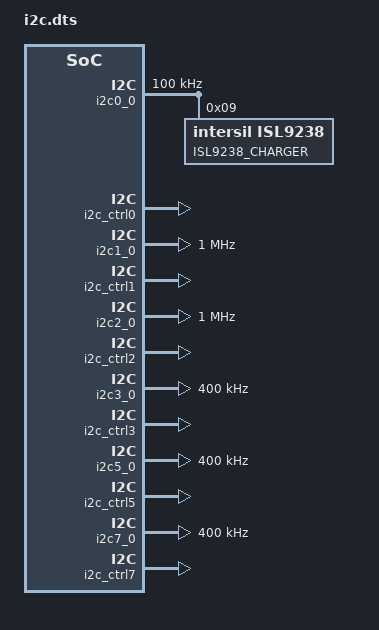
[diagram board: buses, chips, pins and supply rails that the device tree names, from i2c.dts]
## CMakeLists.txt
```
# Copyright 2022 The Chromium OS Authors. All rights reserved.
# Use of this source code is governed by a BSD-style license that can be
# found in the LICENSE file.

cmake_minimum_required(VERSION 3.13.1)

find_package(Zephyr REQUIRED HINTS $ENV{ZEPHYR_BASE})
project(wormdingler)

cros_ec_library_include_directories(include)

zephyr_library_sources_ifdef(CONFIG_PLATFORM_EC_USBC
  "src/usb_pd_policy.c"
  "src/usbc_config.c")

zephyr_library_sources(
  "src/base_detect.c"
  "src/i2c.c"
  "src/power.c"
  "src/switchcap.c")
```

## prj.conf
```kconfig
# Cros EC
CONFIG_CROS_EC=y
CONFIG_PLATFORM_EC=y
CONFIG_SHIMMED_TASKS=y

# Shell features
CONFIG_KERNEL_SHELL=y
CONFIG_SHELL_HELP=y
CONFIG_SHELL_TAB=y
CONFIG_SHELL_TAB_AUTOCOMPLETION=y
CONFIG_SHELL_HISTORY=y

# Bring up options
CONFIG_PLATFORM_EC_BRINGUP=y

# Keyboard
# TODO: enable this for VOLUME_BUTTONS,but wormdingler does not have keyboard
#       we should fix the unsatisfied dependencies in Kconfig.keyboard later
#CONFIG_PLATFORM_EC_KEYBOARD=y

# Button and switch
CONFIG_PLATFORM_EC_HOSTCMD=y
CONFIG_PLATFORM_EC_LID_SWITCH=y
CONFIG_PLATFORM_EC_POWER_BUTTON=y
CONFIG_PLATFORM_EC_VOLUME_BUTTONS=y
CONFIG_PLATFORM_EC_SWITCH=y

# I2C
CONFIG_I2C=y
CONFIG_PLATFORM_EC_I2C=y

# Battery
CONFIG_PLATFORM_EC_BATTERY=y
CONFIG_PLATFORM_EC_BATTERY_SMART=y
CONFIG_PLATFORM_EC_BATTERY_FUEL_GAUGE=y
CONFIG_PLATFORM_EC_BATTERY_CUT_OFF=y
CONFIG_PLATFORM_EC_BATTERY_PRESENT_GPIO=y
CONFIG_PLATFORM_EC_EXTPOWER_GPIO=y
CONFIG_PLATFORM_EC_I2C_PASSTHRU_RESTRICTED=y
CONFIG_PLATFORM_EC_I2C_VIRTUAL_BATTERY=y

# USB-C
CONFIG_PLATFORM_EC_USBC=y
CONFIG_PLATFORM_EC_USB_PID=0x5043
CONFIG_PLATFORM_EC_BC12_DETECT_PI3USB9201=y
CONFIG_PLATFORM_EC_USB_PD_USB32_DRD=n
CONFIG_PLATFORM_EC_USBC_PPC_SN5S330=y
CONFIG_PLATFORM_EC_USBC_RETIMER_FW_UPDATE=n
CONFIG_PLATFORM_EC_USBC_SS_MUX_DFP_ONLY=y
CONFIG_PLATFORM_EC_USB_DRP_ACC_TRYSRC=y
CONFIG_PLATFORM_EC_USB_PD_5V_EN_CUSTOM=y
CONFIG_PLATFORM_EC_USB_PD_VBUS_DETECT_TCPC=y
CONFIG_PLATFORM_EC_USB_PD_DISCHARGE_PPC=y
CONFIG_PLATFORM_EC_USB_PD_PORT_MAX_COUNT=2
CONFIG_PLATFORM_EC_USB_PD_REV30=n
CONFIG_PLATFORM_EC_USB_PD_TCPC_LOW_POWER=y
CONFIG_PLATFORM_EC_USB_PD_TCPM_MULTI_PS8XXX=y
CONFIG_PLATFORM_EC_USB_PD_TCPM_PS8751=y
CONFIG_PLATFORM_EC_USB_PD_TCPM_PS8805=y
CONFIG_PLATFORM_EC_USB_PD_TCPC_RUNTIME_CONFIG=n
CONFIG_PLATFORM_EC_USB_MUX_RUNTIME_CONFIG=n
CONFIG_PLATFORM_EC_USB_PD_LOGGING=y

# Charger
CONFIG_PLATFORM_EC_CHARGER_ISL9238=y
CONFIG_PLATFORM_EC_CHARGE_RAMP_HW=y
CONFIG_PLATFORM_EC_CHARGER_DISCHARGE_ON_AC=y
CONFIG_PLATFORM_EC_CHARGER_DISCHARGE_ON_AC_CHARGER=y
CONFIG_PLATFORM_EC_CHARGER_MIN_BAT_PCT_FOR_POWER_ON=2
CONFIG_PLATFORM_EC_CHARGER_MIN_POWER_MW_FOR_POWER_ON=10000
CONFIG_PLATFORM_EC_CHARGER_PROFILE_OVERRIDE=y
CONFIG_PLATFORM_EC_CHARGER_SENSE_RESISTOR=10
CONFIG_PLATFORM_EC_CHARGER_SENSE_RESISTOR_AC=20
CONFIG_PLATFORM_EC_CONSOLE_CMD_CHARGER_ADC_AMON_BMON=y
CONFIG_PLATFORM_EC_CHARGER_PSYS=y
CONFIG_PLATFORM_EC_CHARGER_PSYS_READ=y

# LN9310 Switchcap
CONFIG_PLATFORM_EC_SWITCHCAP_LN9310=y

# AP and Power Sequence
CONFIG_AP_ARM_QUALCOMM_SC7180=y
CONFIG_PLATFORM_EC_POWERSEQ=y
CONFIG_PLATFORM_EC_POWERSEQ_HOST_SLEEP=y
CONFIG_PLATFORM_EC_POWER_SLEEP_FAILURE_DETECTION=y
CONFIG_PLATFORM_EC_CHIPSET_RESET_HOOK=y
CONFIG_PLATFORM_EC_CHIPSET_RESUME_INIT_HOOK=y

# PWM
CONFIG_PWM=y
CONFIG_PWM_SHELL=n
CONFIG_PLATFORM_EC_PWM_DISPLIGHT=y
CONFIG_PLATFORM_EC_BACKLIGHT_LID=y

# MKBP
CONFIG_PLATFORM_EC_MKBP_EVENT=y
CONFIG_PLATFORM_EC_MKBP_EVENT_WAKEUP_MASK=y
CONFIG_PLATFORM_EC_MKBP_HOST_EVENT_WAKEUP_MASK=y
CONFIG_PLATFORM_EC_MKBP_INPUT_DEVICES=y
CONFIG_PLATFORM_EC_MKBP_USE_GPIO=y

# LED
CONFIG_PLATFORM_EC_LED_DT=y

# Sensor
CONFIG_PLATFORM_EC_MOTIONSENSE=y
CONFIG_PLATFORM_EC_ACCEL_FIFO=y
CONFIG_PLATFORM_EC_ACCEL_INTERRUPTS=y
CONFIG_PLATFORM_EC_ACCELGYRO_ICM42607=y
CONFIG_PLATFORM_EC_ACCELGYRO_ICM_COMM_I2C=y
CONFIG_PLATFORM_EC_SENSOR_TIGHT_TIMESTAMPS=y

# Detachable Base
CONFIG_PLATFORM_EC_DETACHABLE_BASE=y
CONFIG_PLATFORM_EC_BASE_ATTACHED_SWITCH=y
# Enable this board config ADC at runtime
CONFIG_PLATFORM_EC_ADC_CHANNELS_RUNTIME_CONFIG=y

# must undefine to build pass
# difine this until enable this functions
CONFIG_PLATFORM_EC_VBOOT_EFS2=n
# Keyboard
CONFIG_PLATFORM_EC_KEYBOARD=n
CONFIG_CROS_KB_RAW_NPCX=n


# must define to build pass
CONFIG_SOC_NPCX7M7FC=y
CONFIG_SOC_SERIES_NPCX7=y
CONFIG_SYSCON=y
CONFIG_LOG=y
```

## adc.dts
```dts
/* Copyright 2022 The Chromium OS Authors. All rights reserved.
 * Use of this source code is governed by a BSD-style license that can be
 * found in the LICENSE file.
 */

#include <dt-bindings/adc/adc.h>

/ {
	named-adc-channels {
		compatible = "named-adc-channels";

		vbus {
			label = "VBUS";
			enum-name = "ADC_VBUS";
			io-channels = <&adc0 1>;
			/* Measure VBUS through a 1/10 voltage divider */
			mul = <10>;
		};
		amon_bmon {
			label = "AMON_BMON";
			enum-name = "ADC_AMON_BMON";
			io-channels = <&adc0 2>;
			/*
			 * Adapter current output or battery charging/
			 * discharging current (uV) 18x amplification on
			 * charger side.
			 */
			mul = <1000>;
			div = <18>;
		};
		psys {
			label = "PSYS";
			enum-name = "ADC_PSYS";
			io-channels = <&adc0 3>;
			/*
			 * ISL9238 PSYS output is 1.44 uA/W over 5.6K resistor,
			 * to read 0.8V @ 99 W, i.e. 124000 uW/mV.
			 */
			mul = <124000>;
		};
		base_det {
			label = "BASE_DET";
			enum-name = "ADC_BASE_DET";
			/*
			 *channel 6 is an unimplemented ADC slot, change it to 5
			 *at board runtime, so that we can configure this PIN as
			 *an interrupt PIN.
			 */
			io-channels = <&adc0 6>;
		};
	};
};
```

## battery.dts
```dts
/* Copyright 2021 The Chromium OS Authors. All rights reserved.
 * Use of this source code is governed by a BSD-style license that can be
 * found in the LICENSE file.
 */

/ {
	batteries {
		default_battery: sunwoda_l21d2pg2 {
			compatible = "sunwoda,l21d2pg2";
		};
		byd_l21b2pg2 {
			compatible = "byd,l21b2pg2";
		};
	};
};
```

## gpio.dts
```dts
/* Copyright 2022 The Chromium OS Authors. All rights reserved.
 * Use of this source code is governed by a BSD-style license that can be
 * found in the LICENSE file.
 */

/ {
	aliases {
		gpio-wp = &gpio_ec_wp_odl;
	};

	named-gpios {
		compatible = "named-gpios";

		gpio_ec_wp_odl: ec_wp_odl {
			gpios = <&gpioa 1 (GPIO_INPUT | GPIO_ACTIVE_LOW)>;
		};
		gpio_usb_c0_pd_int_odl: usb_c0_pd_int_odl {
			gpios = <&gpioe 0 GPIO_INPUT>;
			enum-name = "GPIO_USB_C0_PD_INT_ODL";
		};
		gpio_usb_c1_pd_int_odl: usb_c1_pd_int_odl {
			gpios = <&gpiof 5 GPIO_INPUT>;
			enum-name = "GPIO_USB_C1_PD_INT_ODL";
		};
		gpio_usb_c0_swctl_int_odl: usb_c0_swctl_int_odl {
			gpios = <&gpio0 3 GPIO_INPUT>;
			enum-name = "GPIO_USB_C0_SWCTL_INT_ODL";
		};
		gpio_usb_c1_swctl_int_odl: usb_c1_swctl_int_odl {
			gpios = <&gpio4 0 GPIO_INPUT>;
			enum-name = "GPIO_USB_C1_SWCTL_INT_ODL";
		};
		gpio_usb_c0_bc12_int_l: usb_c0_bc12_int_l {
			gpios = <&gpio6 1 GPIO_INPUT_PULL_UP>;
		};
		gpio_usb_c1_bc12_int_l: usb_c1_bc12_int_l {
			gpios = <&gpio8 2 GPIO_INPUT_PULL_UP>;
		};
		gpio_acok_od: acok_od {
			gpios = <&gpio0 0 GPIO_INPUT>;
			enum-name = "GPIO_AC_PRESENT";
		};
		gpio_ccd_mode_odl: ccd_mode_odl {
			gpios = <&gpioe 3 GPIO_INPUT>;
			enum-name = "GPIO_CCD_MODE_ODL";
		};
		gpio_ec_pwr_btn_odl: ec_pwr_btn_odl {
			gpios = <&gpio0 1 GPIO_INPUT>;
			enum-name = "GPIO_POWER_BUTTON_L";
		};
		gpio_ec_voldn_btn_odl: ec_voldn_btn_odl {
			gpios = <&gpio7 0 GPIO_INPUT_PULL_UP>;
			enum-name = "GPIO_VOLUME_DOWN_L";
		};
		gpio_ec_volup_btn_odl: ec_volup_btn_odl {
			gpios = <&gpiof 2 GPIO_INPUT_PULL_UP>;
			enum-name = "GPIO_VOLUME_UP_L";
		};
		gpio_ec_wp_odl: ec_wp_odl {
			gpios = <&gpioa 1 (GPIO_INPUT | GPIO_ACTIVE_LOW)>;
		};
		gpio_lid_open_ec: lid_open_ec {
			gpios = <&gpiod 2 GPIO_INPUT>;
			enum-name = "GPIO_LID_OPEN";
		};
		gpio_ap_rst_l: ap_rst_l {
			gpios = <&gpioc 1 GPIO_INPUT>;
			enum-name = "GPIO_AP_RST_L";
		};
		gpio_ps_hold: ps_hold {
			gpios = <&gpioa 4 GPIO_INPUT_PULL_DOWN>;
			enum-name = "GPIO_PS_HOLD";
		};
		gpio_ap_suspend: ap_suspend {
			gpios = <&gpio5 7 GPIO_INPUT>;
			enum-name = "GPIO_AP_SUSPEND";
		};
		gpio_deprecated_ap_rst_req: deprecated_ap_rst_req {
			gpios = <&gpioc 2 GPIO_INPUT_PULL_DOWN>;
			enum-name = "GPIO_DEPRECATED_AP_RST_REQ";
		};
		gpio_power_good: power_good {
			gpios = <&gpio5 4 GPIO_INPUT_PULL_DOWN>;
			enum-name = "GPIO_POWER_GOOD";
		};
		gpio_warm_reset_l: warm_reset_l {
			gpios = <&gpiof 4 GPIO_INPUT>;
			enum-name = "GPIO_WARM_RESET_L";
		};
		ap_ec_spi_cs_l {
			gpios = <&gpio5 3 GPIO_INPUT_PULL_DOWN>;
		};
		gpio_accel_gyro_int_l: accel_gyro_int_l {
			gpios = <&gpioa 0 GPIO_INPUT>;
		};
		gpio_switchcap_pg_int_l: switchcap_pg_int_l {
			gpios = <&gpioe 2 GPIO_INPUT>;
		};
		gpio_ec_rst_odl: ec_rst_odl {
			gpios = <&gpio0 2 GPIO_INPUT>;
		};	
		ec_entering_rw {
			gpios = <&gpioe 1 GPIO_OUTPUT_LOW>;
			enum-name = "GPIO_ENTERING_RW";
		};
		ec_batt_pres_odl {
			gpios = <&gpioe 5 GPIO_INPUT>;
			enum-name = "GPIO_BATT_PRES_ODL";
		};
		pm845_resin_l {
			gpios = <&gpio3 2 GPIO_ODR_HIGH>;
			enum-name = "GPIO_PMIC_RESIN_L";
		};
		pmic_kpd_pwr_odl {
			gpios = <&gpiod 6 GPIO_ODR_HIGH>;
			enum-name = "GPIO_PMIC_KPD_PWR_ODL";
		};
		ec_int_l {
			gpios = <&gpioa 2 GPIO_ODR_HIGH>;
			enum-name = "GPIO_EC_INT_L";
		};
		qsip_on {
			gpios = <&gpio5 0 GPIO_OUTPUT_LOW>;
		};
		gpio_hibernate_l: hibernate_l {
			gpios = <&gpio5 2 GPIO_OUTPUT_HIGH>;
		};
		gpio_switchcap_on: switchcap_on {
			gpios = <&gpiod 5 (GPIO_ODR_HIGH | GPIO_ACTIVE_LOW)>;
			enum-name = "GPIO_SWITCHCAP_ON";
		};
		gpio_en_pp3300_a: en_pp3300_a {
			gpios = <&gpioa 6 GPIO_OUTPUT_LOW>;
			enum-name = "GPIO_EN_PP3300_A";
		};
		gpio_en_pp5000_a: en_pp5000_a {
			gpios = <&gpio6 7 GPIO_OUTPUT_LOW>;
			enum-name = "GPIO_EN_PP5000";
		};
		ec_bl_disable_l {
			gpios = <&gpiob 6 GPIO_OUTPUT_LOW>;
			enum-name = "GPIO_ENABLE_BACKLIGHT";
		};
		gpio_en_base: en_base {
			gpios = <&gpio0 4 GPIO_OUTPUT_LOW>;
		};
		gpio_pogo_vbus_present: pogo_vbus_present {
			gpios = <&gpio6 2 GPIO_INPUT>;
		};
		gpio_base_det_l: base_det_l {
			gpios = <&gpio3 7 GPIO_INPUT>;
		};
		gpio_usb_c0_pd_rst_l: usb_c0_pd_rst_l {
			gpios = <&gpiof 1 GPIO_ODR_HIGH>;
		};
		gpio_usb_c1_pd_rst_l: usb_c1_pd_rst_l {
			gpios = <&gpioe 4 GPIO_ODR_HIGH>;
		};
		gpio_dp_mux_oe_l: dp_mux_oe_l {
			gpios = <&gpio9 6 GPIO_ODR_HIGH>;
		};
		gpio_dp_mux_sel: dp_mux_sel {
			gpios = <&gpio4 5 GPIO_OUTPUT_LOW>;
		};
		gpio_dp_hot_plug_det: dp_hot_plug_det {
			gpios = <&gpio9 5 GPIO_OUTPUT_LOW>;
		};
		gpio_ec_chg_led_r_c0: ec_chg_led_r_c0 {
			#led-pin-cells = <1>;
			gpios = <&gpioc 3 GPIO_OUTPUT_LOW>;
		};
		gpio_ec_chg_led_g_c0: ec_chg_led_g_c0 {
			#led-pin-cells = <1>;
			gpios = <&gpioc 4 GPIO_OUTPUT_LOW>;
		};
		gpio_wcam_ec_vsync: wcam_ec_vsync {
			gpios = <&gpioc 0 GPIO_INPUT>;
		};
		gpio_fcam_ec_vsync: fcam_ec_vsync {
			gpios = <&gpio6 0 GPIO_INPUT>;
		};
		gpio_brd_id0: brd_id0 {
			gpios = <&gpioc 7 GPIO_INPUT>;
			enum-name = "GPIO_BOARD_VERSION1";
		};
		gpio_brd_id1: brd_id1 {
			gpios = <&gpio9 3 GPIO_INPUT>;
			enum-name = "GPIO_BOARD_VERSION2";
		};
		gpio_brd_id2: brd_id2 {
			gpios = <&gpio6 3 GPIO_INPUT>;
			enum-name = "GPIO_BOARD_VERSION3";
		};
		gpio_sku_id0: sku_id0 {
			gpios = <&gpiof 0 GPIO_INPUT>;
		};
		gpio_sku_id1: sku_id1 {
			gpios = <&gpio4 1 GPIO_INPUT>;
		};
		gpio_sku_id2: sku_id2 {
			gpios = <&gpiod 4 GPIO_INPUT>;
		};
		arm_x86 {
			gpios = <&gpio6 6 GPIO_OUTPUT_LOW>;
		};
	};

	def-lvol-io-list {
		compatible = "nuvoton,npcx-lvolctrl-def";
		lvol-io-pads = <
			&lvol_ioc1 /* AP_RST_L */
			&lvol_ioc2 /* DEPRECATED_AP_RST_REQ */
			&lvol_iof4 /* WARM_RESET_L */
			&lvol_iob3 /* EC_I2C_SENSOR_SCL */
			&lvol_iob2 /* EC_I2C_SENSOR_SDA */
		>;
	};

	hibernate-wake-pins {
		compatible = "cros-ec,hibernate-wake-pins";
		wakeup-irqs = <
			&int_ac_present
			&int_power_button
			&int_lid_open
			&int_ec_rst
		>;
	};
};
```

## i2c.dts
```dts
/* Copyright 2022 The Chromium OS Authors. All rights reserved.
 * Use of this source code is governed by a BSD-style license that can be
 * found in the LICENSE file.
 */

/ {
	named-i2c-ports {
		compatible = "named-i2c-ports";

		power {
			i2c-port = <&i2c0_0>;
			enum-name = "I2C_PORT_POWER";
		};
		battery {
			i2c-port = <&i2c0_0>;
			remote-port = <0>;
			enum-name = "I2C_PORT_BATTERY";
		};
		charger {
			i2c-port = <&i2c0_0>;
			enum-name = "I2C_PORT_CHARGER";
		};
		tcpc0 {
			i2c-port = <&i2c1_0>;
			enum-name = "I2C_PORT_TCPC0";
		};
		tcpc1 {
			i2c-port = <&i2c2_0>;
			enum-name = "I2C_PORT_TCPC1";
		};
		eeprom {
			i2c-port = <&i2c5_0>;
			enum-name = "I2C_PORT_EEPROM";
		};
		i2c_sensor: sensor {
			i2c-port = <&i2c7_0>;
			enum-name = "I2C_PORT_SENSOR";
		};
		accel {
			i2c-port = <&i2c7_0>;
			enum-name = "I2C_PORT_ACCEL";
		};
	};

};

&i2c0_0 {
	status = "okay";
	clock-frequency = <I2C_BITRATE_STANDARD>;
	label = "I2C_PWR_BAT_CHG";

	isl9238: isl9238@9 {
		compatible = "intersil,isl9238";
		reg = <0x09>;
		label = "ISL9238_CHARGER";
	};
};

&i2c_ctrl0 {
	status = "okay";
};

&i2c1_0 {
	status = "okay";
	clock-frequency = <I2C_BITRATE_FAST_PLUS>;
	label = "I2C_USB_C0";
};

&i2c_ctrl1 {
	status = "okay";
};

&i2c2_0 {
	status = "okay";
	clock-frequency = <I2C_BITRATE_FAST_PLUS>;
	label = "I2C_USB_C1";
};

&i2c_ctrl2 {
	status = "okay";
};

&i2c3_0 {
	/* Not used */
	clock-frequency = <I2C_BITRATE_FAST>;
};

&i2c_ctrl3 {
	status = "okay";
};

&i2c5_0 {
	status = "okay";
	clock-frequency = <I2C_BITRATE_FAST>;
	label = "I2C_EEPROM";
};

&i2c_ctrl5 {
	status = "okay";
};

&i2c7_0 {
	status = "okay";
	clock-frequency = <I2C_BITRATE_FAST>;
	label = "I2C_SENSOR";
};

&i2c_ctrl7 {
	status = "okay";
};
```

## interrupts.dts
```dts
/* Copyright 2022 The Chromium OS Authors. All rights reserved.
 * Use of this source code is governed by a BSD-style license that can be
 * found in the LICENSE file.
 */

/ {
	gpio-interrupts {
		compatible = "cros-ec,gpio-interrupts";

		int_power_button: power_button {
			irq-pin = <&gpio_ec_pwr_btn_odl>;
			flags = <GPIO_INT_EDGE_BOTH>;
			handler = "power_button_interrupt";
		};
		int_lid_open: lid_open {
			irq-pin = <&gpio_lid_open_ec>;
			flags = <GPIO_INT_EDGE_BOTH>;
			handler = "lid_interrupt";
		};
		int_volume_up: volume_up {
			irq-pin = <&gpio_ec_volup_btn_odl>;
			flags = <GPIO_INT_EDGE_BOTH>;
			handler = "button_interrupt";
		};
		int_volume_down: volume_down {
			irq-pin = <&gpio_ec_voldn_btn_odl>;
			flags = <GPIO_INT_EDGE_BOTH>;
			handler = "button_interrupt";
		};
		int_ac_present: ac_present {
			irq-pin = <&gpio_acok_od>;
			flags = <GPIO_INT_EDGE_BOTH>;
			handler = "extpower_interrupt";
		};
		int_usb_c0_tcpc: usb_c0_tcpc {
			irq-pin = <&gpio_usb_c0_pd_int_odl>;
			flags = <GPIO_INT_EDGE_FALLING>;
			handler = "tcpc_alert_event";
		};
		int_usb_c1_tcpc: usb_c1_tcpc {
			irq-pin = <&gpio_usb_c1_pd_int_odl>;
			flags = <GPIO_INT_EDGE_FALLING>;
			handler = "tcpc_alert_event";
		};
		int_usb_c0_swctl: usb_c0_swctl {
			irq-pin = <&gpio_usb_c0_swctl_int_odl>;
			flags = <GPIO_INT_EDGE_FALLING>;
			handler = "ppc_interrupt";
		};
		int_usb_c1_swctl: usb_c1_swctl {
			irq-pin = <&gpio_usb_c1_swctl_int_odl>;
			flags = <GPIO_INT_EDGE_FALLING>;
			handler = "ppc_interrupt";
		};
		int_usb_c0_bc12: usb_c0_bc12 {
			irq-pin = <&gpio_usb_c0_bc12_int_l>;
			flags = <GPIO_INT_EDGE_FALLING>;
			handler = "usb0_evt";
		};
		int_usb_c1_bc12: usb_c1_bc12 {
			irq-pin = <&gpio_usb_c1_bc12_int_l>;
			flags = <GPIO_INT_EDGE_FALLING>;
			handler = "usb1_evt";
		};
		int_ccd_mode: ccd_mode {
			irq-pin = <&gpio_ccd_mode_odl>;
			flags = <GPIO_INT_EDGE_FALLING>;
			handler = "board_connect_c0_sbu";
		};
		int_switchcap_pg: switchcap_pg {
			irq-pin = <&gpio_switchcap_pg_int_l>;
			flags = <GPIO_INT_EDGE_FALLING>;
			handler = "ln9310_interrupt";
		};
		int_ap_rst: ap_rst {
			irq-pin = <&gpio_ap_rst_l>;
			flags = <GPIO_INT_EDGE_BOTH>;
			handler = "chipset_ap_rst_interrupt";
		};
		int_ap_suspend: ap_suspend {
			irq-pin = <&gpio_ap_suspend>;
			flags = <GPIO_INT_EDGE_BOTH>;
			handler = "power_signal_interrupt";
		};
		int_deprecated_ap_rst_req: deprecated_ap_rst_req {
			irq-pin = <&gpio_deprecated_ap_rst_req>;
			flags = <GPIO_INT_EDGE_BOTH>;
			handler = "power_signal_interrupt";
		};
		int_power_good: power_good {
			irq-pin = <&gpio_power_good>;
			flags = <GPIO_INT_EDGE_BOTH>;
			handler = "chipset_power_good_interrupt";
		};
		int_ps_hold: ps_hold {
			irq-pin = <&gpio_ps_hold>;
			flags = <GPIO_INT_EDGE_BOTH>;
			handler = "power_signal_interrupt";
		};
		int_warm_reset: warm_reset {
			irq-pin = <&gpio_warm_reset_l>;
			flags = <GPIO_INT_EDGE_BOTH>;
			handler = "chipset_warm_reset_interrupt";
		};
		int_accel: accel {
			irq-pin = <&gpio_accel_gyro_int_l>;
			flags = <GPIO_INT_EDGE_FALLING>;
			handler = "icm42607_interrupt";
		};
		int_base_det: base_det {
			irq-pin = <&gpio_base_det_l>;
			flags = <GPIO_INT_EDGE_BOTH>;
			handler = "base_detect_interrupt";
		};
		int_ec_rst: ec_rst {
			irq-pin = <&gpio_ec_rst_odl>;
			flags = <GPIO_INT_EDGE_FALLING>;
			handler = "wake_isr";
		};
	};
};
```

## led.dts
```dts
/ {
	gpio-led {
		compatible = "gpio-led-behavior";

		gpio-led-pins {
			compatible = "cros-ec,gpio-led-pins";

			color-off {
				led-color = "LED_OFF";
				led-pins = <&gpio_ec_chg_led_r_c0 0>,
					   <&gpio_ec_chg_led_g_c0 0>;
			};

			color-red {
				led-color = "LED_RED";
				led-pins = <&gpio_ec_chg_led_r_c0 1>,
					   <&gpio_ec_chg_led_g_c0 0>;
			};

			color-green {
				led-color = "LED_GREEN";
				led-pins = <&gpio_ec_chg_led_r_c0 0>,
					   <&gpio_ec_chg_led_g_c0 1>;
			};

			color-amber {
				led-color = "LED_AMBER";
				led-pins = <&gpio_ec_chg_led_r_c0 1>,
					   <&gpio_ec_chg_led_g_c0 1>;
			};
		};

		gpio-led-colors {
			compatible = "cros-ec,gpio-led-colors";

			power-state-charge {
				charge-state = "PWR_STATE_CHARGE";

				color-0 {
					led-color = "LED_AMBER";
				};
			};

			power-state-discharge-s0 {
				charge-state = "PWR_STATE_DISCHARGE";
				chipset-state = "POWER_S0";

				color-0 {
					led-color = "LED_OFF";
				};
			};

			power-state-discharge-s3 {
				charge-state = "PWR_STATE_DISCHARGE";
				chipset-state = "POWER_S3";

				color-0 {
					led-color = "LED_OFF";
				};
			};

			power-state-discharge-s5 {
				charge-state = "PWR_STATE_DISCHARGE";
				chipset-state = "POWER_S5";

				color-0 {
					led-color = "LED_OFF";
				};
			};

			power-state-error {
				charge-state = "PWR_STATE_ERROR";

				/* RED 1 sec, off 1 sec */
				color-0 {
					led-color = "LED_RED";
					period = <1>;
				};
				color-1 {
					led-color = "LED_OFF";
					period = <1>;
				};
			};

			power-state-near-full {
				charge-state = "PWR_STATE_CHARGE_NEAR_FULL";

				color-0 {
					led-color = "LED_GREEN";
				};
			};

			power-state-idle-forced {
				charge-state = "PWR_STATE_IDLE";
				extra-flag = "LED_CHFLAG_FORCE_IDLE";

				/* Red 2 sec, Amber 2 sec */
				color-0 {
					led-color = "LED_RED";
					period = <2>;
				};
				color-1 {
					led-color = "LED_GREEN";
					period = <2>;
				};
			};

			power-state-idle-default {
				charge-state = "PWR_STATE_IDLE";
				extra-flag = "LED_CHFLAG_DEFAULT";

				color-0 {
					led-color = "LED_OFF";
				};
			};
		};
	};
};
```

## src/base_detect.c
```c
/* Copyright 2021 The Chromium OS Authors. All rights reserved.
 * Use of this source code is governed by a BSD-style license that can be
 * found in the LICENSE file.
 */

/* Wormdingler base detection code */

#include <drivers/gpio.h>
#include "gpio/gpio_int.h"

#include "adc.h"
#include "base_state.h"
#include "board.h"
#include "chipset.h"
#include "common.h"
#include "console.h"
#include "hooks.h"
#include "host_command.h"
#include "system.h"
#include "tablet_mode.h"
#include "timer.h"
#include "util.h"

#define CPRINTS(format, args...) cprints(CC_SYSTEM, format, ## args)
#define CPRINTF(format, args...) cprintf(CC_SYSTEM, format, ## args)

/* Make sure POGO VBUS starts later then PP3300_HUB when power on  */
#define BASE_DETECT_EN_LATER_US (600 * MSEC)

/* Base detection and debouncing */
#define BASE_DETECT_EN_DEBOUNCE_US (350 * MSEC)
#define BASE_DETECT_DIS_DEBOUNCE_US (20 * MSEC)

/*
 * If the base status is unclear (i.e. not within expected ranges, read
 * the ADC value again every 500ms.
 */
#define BASE_DETECT_RETRY_US (500 * MSEC)

/*
 * Lid has 604K pull-up, base has 30.1K pull-down, so the
 * ADC value should be around 30.1/(604+30.1)*3300 = 156
 *
 * We add a significant margin on the maximum value, due to noise on the line,
 * especially when PWM is active. See b/64193554 for details.
 */
#define BASE_DETECT_MIN_MV 120
#define BASE_DETECT_MAX_MV 300

/* Minimum ADC value to indicate base is disconnected for sure */
#define BASE_DETECT_DISCONNECT_MIN_MV 1500

/*
 * Base EC pulses detection pin for 500 us to signal out of band USB wake (that
 * can be used to wake system from deep S3).
 */
#define BASE_DETECT_PULSE_MIN_US 400
#define BASE_DETECT_PULSE_MAX_US 650

static uint64_t base_detect_debounce_time;

static void base_detect_deferred(void);
DECLARE_DEFERRED(base_detect_deferred);

enum base_status {
	BASE_UNKNOWN = 0,
	BASE_DISCONNECTED = 1,
	BASE_CONNECTED = 2,
};

static enum base_status current_base_status;

/*
 * This function is called whenever there is a change in the base detect
 * status. Actions taken include:
 * 1. Change in power to base
 * 2. Indicate mode change to host.
 * 3. Indicate tablet mode to host. Current assumption is that if base is
 * disconnected then the system is in tablet mode, else if the base is
 * connected, then the system is not in tablet mode.
 */
static void base_detect_change(enum base_status status)
{
	int connected = (status == BASE_CONNECTED);

	if (current_base_status == status)
		return;
	gpio_pin_set_dt(GPIO_DT_FROM_NODELABEL(gpio_en_base), connected);
	base_set_state(connected);
	current_base_status = status;
}

/* Measure detection pin pulse duration (used to wake AP from deep S3). */
static uint64_t pulse_start;
static uint32_t pulse_width;

static void print_base_detect_value(int v, int tmp_pulse_width)
{
	CPRINTS("%s = %d (pulse %d)", adc_channels[ADC_BASE_DET].name,
			v, tmp_pulse_width);
}

static void base_detect_deferred(void)
{
	uint64_t time_now = get_time().val;
	int v;
	uint32_t tmp_pulse_width = pulse_width;

	if (base_detect_debounce_time > time_now) {
		hook_call_deferred(&base_detect_deferred_data,
				   base_detect_debounce_time - time_now);
		return;
	}

	adc_channels[ADC_BASE_DET].input_ch = 5;
	v = adc_read_channel(ADC_BASE_DET);
	if (v == ADC_READ_ERROR)
		return;
	adc_channels[ADC_BASE_DET].input_ch = 6;

	print_base_detect_value(v, tmp_pulse_width);

	if (v >= BASE_DETECT_MIN_MV && v <= BASE_DETECT_MAX_MV) {
		if (current_base_status != BASE_CONNECTED) {
			base_detect_change(BASE_CONNECTED);
		} else if (tmp_pulse_width >= BASE_DETECT_PULSE_MIN_US &&
			   tmp_pulse_width <= BASE_DETECT_PULSE_MAX_US) {
			CPRINTS("Sending event to AP");
			host_set_single_event(EC_HOST_EVENT_KEY_PRESSED);
		}
		return;
	}

	if (v >= BASE_DETECT_DISCONNECT_MIN_MV) {
		base_detect_change(BASE_DISCONNECTED);
		return;
	}

	/* Unclear base status, schedule again in a while. */
	hook_call_deferred(&base_detect_deferred_data, BASE_DETECT_RETRY_US);
}

static inline int detect_pin_connected(enum gpio_signal det_pin)
{
	return gpio_pin_get_dt(GPIO_DT_FROM_NODELABEL(gpio_base_det_l)) == 0;
}

void base_detect_interrupt(enum gpio_signal signal)
{
	uint64_t time_now = get_time().val;
	int debounce_us;

	if (detect_pin_connected(signal))
		debounce_us = BASE_DETECT_EN_DEBOUNCE_US;
	else
		debounce_us = BASE_DETECT_DIS_DEBOUNCE_US;

	if (base_detect_debounce_time <= time_now) {
		/*
		 * Detect and measure detection pin pulse, when base is
		 * connected. Only a single pulse is measured over a debounce
		 * period. If no pulse, or multiple pulses are detected,
		 * pulse_width is set to 0.
		 */
		if (current_base_status == BASE_CONNECTED &&
		    !detect_pin_connected(signal)) {
			pulse_start = time_now;
		} else {
			pulse_start = 0;
		}
		pulse_width = 0;

		hook_call_deferred(&base_detect_deferred_data, debounce_us);
	} else {
		if (current_base_status == BASE_CONNECTED &&
		    detect_pin_connected(signal) && !pulse_width &&
		    pulse_start) {
			/* First pulse within period. */
			pulse_width = time_now - pulse_start;
		} else {
			pulse_start = 0;
			pulse_width = 0;
		}
	}

	base_detect_debounce_time = time_now + debounce_us;
}

static void base_enable(void)
{
	/* Enable base detection interrupt. */
	base_detect_debounce_time = get_time().val;
	hook_call_deferred(&base_detect_deferred_data,
			BASE_DETECT_EN_LATER_US);
	gpio_enable_dt_interrupt(
			GPIO_INT_FROM_NODELABEL(int_base_det));
}
DECLARE_HOOK(HOOK_CHIPSET_STARTUP, base_enable, HOOK_PRIO_DEFAULT);

static void base_disable(void)
{
	/*
	 * Disable base detection interrupt and disable power to base.
	 * Set the state UNKNOWN so the next startup will initialize a
	 * correct state and notify AP.
	 */
	gpio_disable_dt_interrupt(
			GPIO_INT_FROM_NODELABEL(int_base_det));
	base_detect_change(BASE_UNKNOWN);
}
DECLARE_HOOK(HOOK_CHIPSET_SHUTDOWN, base_disable, HOOK_PRIO_DEFAULT);

static void base_init(void)
{
	/*
	 * If we jumped to this image and chipset is already in S0, enable
	 * base.
	 */
	if (system_jumped_late() && chipset_in_state(CHIPSET_STATE_ON))
		base_enable();
}
DECLARE_HOOK(HOOK_INIT, base_init, HOOK_PRIO_DEFAULT+1);

void base_force_state(enum ec_set_base_state_cmd state)
{
	if (state == EC_SET_BASE_STATE_ATTACH) {
		gpio_disable_dt_interrupt(
			GPIO_INT_FROM_NODELABEL(int_base_det));
		base_detect_change(BASE_CONNECTED);
		CPRINTS("BD forced connected");
	} else if (state == EC_SET_BASE_STATE_DETACH) {
		gpio_disable_dt_interrupt(
			GPIO_INT_FROM_NODELABEL(int_base_det));
		base_detect_change(BASE_DISCONNECTED);
		CPRINTS("BD forced disconnected");
	} else {
		base_enable();
		CPRINTS("BD forced reset");
	}
}
```

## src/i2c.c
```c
/* Copyright 2022 The Chromium OS Authors. All rights reserved.
 * Use of this source code is governed by a BSD-style license that can be
 * found in the LICENSE file.
 */

#include "i2c/i2c.h"
#include "i2c.h"

/* Wormdingler board specific i2c implementation */

#ifdef CONFIG_PLATFORM_EC_I2C_PASSTHRU_RESTRICTED
int board_allow_i2c_passthru(const struct i2c_cmd_desc_t *cmd_desc)
{
	return (i2c_get_device_for_port(cmd_desc->port) ==
		i2c_get_device_for_port(I2C_PORT_VIRTUAL_BATTERY));
}
#endif
```

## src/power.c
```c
/* Copyright 2022 The Chromium OS Authors. All rights reserved.
 * Use of this source code is governed by a BSD-style license that can be
 * found in the LICENSE file.
 */

#include <drivers/gpio.h>
#include "hooks.h"
#include "power.h"
#include "task.h"

void board_chipset_pre_init(void)
{
	/* Turn on the 3.3V rail */
	gpio_pin_set_dt(GPIO_DT_FROM_NODELABEL(gpio_en_pp3300_a), 1);

	/* Turn on the 5V rail. */
#ifdef CONFIG_POWER_PP5000_CONTROL
	power_5v_enable(task_get_current(), 1);
#else /* !defined(CONFIG_POWER_PP5000_CONTROL) */
	gpio_pin_set_dt(GPIO_DT_FROM_NODELABEL(gpio_en_pp5000_a), 1);
#endif /* defined(CONFIG_POWER_PP5000_CONTROL) */
}
DECLARE_HOOK(HOOK_CHIPSET_PRE_INIT, board_chipset_pre_init, HOOK_PRIO_DEFAULT);

void board_chipset_shutdown_complete(void)
{
	/* Turn off the 5V rail. */
#ifdef CONFIG_POWER_PP5000_CONTROL
	power_5v_enable(task_get_current(), 0);
#else /* !defined(CONFIG_POWER_PP5000_CONTROL) */
	gpio_pin_set_dt(GPIO_DT_FROM_NODELABEL(gpio_en_pp5000_a), 0);
#endif /* defined(CONFIG_POWER_PP5000_CONTROL) */

	/* Turn off the 3.3V and 5V rails. */
	gpio_pin_set_dt(GPIO_DT_FROM_NODELABEL(gpio_en_pp3300_a), 0);
}
DECLARE_HOOK(HOOK_CHIPSET_SHUTDOWN_COMPLETE, board_chipset_shutdown_complete,
		HOOK_PRIO_DEFAULT);
```

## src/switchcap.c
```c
/* Copyright 2022 The Chromium OS Authors. All rights reserved.
 * Use of this source code is governed by a BSD-style license that can be
 * found in the LICENSE file.
 */

#include <drivers/gpio.h>

#include "common.h"
#include "config.h"
#include "console.h"
#include "driver/ln9310.h"
#include "gpio/gpio_int.h"
#include "hooks.h"
#include "i2c.h"
#include "power/qcom.h"
#include "system.h"

#define CPRINTS(format, args...) cprints(CC_I2C, format, ## args)
#define CPRINTF(format, args...) cprintf(CC_I2C, format, ## args)

/* LN9310 switchcap */
const struct ln9310_config_t ln9310_config = {
	.i2c_port = I2C_PORT_POWER,
	.i2c_addr_flags = LN9310_I2C_ADDR_0_FLAGS,
};

enum battery_cell_type board_get_battery_cell_type(void)
{
	return BATTERY_CELL_TYPE_2S;
}

static void switchcap_init(void)
{
	
	CPRINTS("Use switchcap: LN9310");

	/* Enable interrupt for LN9310 */
	gpio_enable_dt_interrupt(
		GPIO_INT_FROM_NODELABEL(int_switchcap_pg));

	/* Only configure the switchcap if not sysjump */
	if (!system_jumped_late()) {
		ln9310_init();
	}
}
DECLARE_HOOK(HOOK_INIT, switchcap_init, HOOK_PRIO_DEFAULT);

void board_set_switchcap_power(int enable)
{
	gpio_pin_set_dt(
		GPIO_DT_FROM_NODELABEL(gpio_switchcap_on),
		enable);
	ln9310_software_enable(enable);
}

int board_is_switchcap_enabled(void)
{
	return gpio_pin_get_dt(
			GPIO_DT_FROM_NODELABEL(gpio_switchcap_on));
}

int board_is_switchcap_power_good(void)
{
	return ln9310_power_good();
}
```

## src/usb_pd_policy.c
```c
/* Copyright 2022 The Chromium OS Authors. All rights reserved.
 * Use of this source code is governed by a BSD-style license that can be
 * found in the LICENSE file.
 */

#include <drivers/gpio.h>
#include "charge_manager.h"
#include "chipset.h"
#include "console.h"
#include "system.h"
#include "usb_mux.h"
#include "usbc_ppc.h"
#include "util.h"

#define CPRINTS(format, args...) cprints(CC_USBCHARGE, format, ## args)
#define CPRINTF(format, args...) cprintf(CC_USBCHARGE, format, ## args)

int pd_check_vconn_swap(int port)
{
	/* In G3, do not allow vconn swap since PP5000 rail is off */
	return gpio_pin_get_dt(GPIO_DT_FROM_NODELABEL(gpio_en_pp5000_a));
}

static uint8_t vbus_en[CONFIG_USB_PD_PORT_MAX_COUNT];
#if CONFIG_USB_PD_PORT_MAX_COUNT == 1
static uint8_t vbus_rp[CONFIG_USB_PD_PORT_MAX_COUNT] = {TYPEC_RP_1A5};
#else
static uint8_t vbus_rp[CONFIG_USB_PD_PORT_MAX_COUNT] = {TYPEC_RP_1A5,
							TYPEC_RP_1A5};
#endif

static void board_vbus_update_source_current(int port)
{
	/* Both port are controlled by PPC SN5S330. */
	ppc_set_vbus_source_current_limit(port, vbus_rp[port]);
	ppc_vbus_source_enable(port, vbus_en[port]);
}

void pd_power_supply_reset(int port)
{
	int prev_en;

	prev_en = vbus_en[port];

	/* Disable VBUS */
	vbus_en[port] = 0;
	board_vbus_update_source_current(port);

	/* Enable discharge if we were previously sourcing 5V */
	if (prev_en)
		pd_set_vbus_discharge(port, 1);

	/* notify host of power info change */
	pd_send_host_event(PD_EVENT_POWER_CHANGE);
}

int pd_set_power_supply_ready(int port)
{
	/* Disable charging */
	board_vbus_sink_enable(port, 0);

	pd_set_vbus_discharge(port, 0);

	/* Provide VBUS */
	vbus_en[port] = 1;
	board_vbus_update_source_current(port);

	/* notify host of power info change */
	pd_send_host_event(PD_EVENT_POWER_CHANGE);

	return EC_SUCCESS; /* we are ready */
}

int board_vbus_source_enabled(int port)
{
	return vbus_en[port];
}

__override void typec_set_source_current_limit(int port, enum tcpc_rp_value rp)
{
	vbus_rp[port] = rp;
	board_vbus_update_source_current(port);
}

int pd_snk_is_vbus_provided(int port)
{
	return tcpm_check_vbus_level(port, VBUS_PRESENT);
}

/* ----------------- Vendor Defined Messages ------------------ */
#ifdef CONFIG_USB_PD_ALT_MODE_DFP
__override int svdm_dp_config(int port, uint32_t *payload)
{
	int opos = pd_alt_mode(port, TCPCI_MSG_SOP, USB_SID_DISPLAYPORT);
	uint8_t pin_mode = get_dp_pin_mode(port);

	if (!pin_mode)
		return 0;

	/*
	 * Defer setting the usb_mux until HPD goes high, svdm_dp_attention().
	 * The AP only supports one DP phy. An external DP mux switches between
	 * the two ports. Should switch those muxes when it is really used,
	 * i.e. HPD high; otherwise, the real use case is preempted, like:
	 *  (1) plug a dongle without monitor connected to port-0,
	 *  (2) plug a dongle without monitor connected to port-1,
	 *  (3) plug a monitor to the port-1 dongle.
	 */

	payload[0] = VDO(USB_SID_DISPLAYPORT, 1,
			 CMD_DP_CONFIG | VDO_OPOS(opos));
	payload[1] = VDO_DP_CFG(pin_mode,      /* pin mode */
				1,             /* DPv1.3 signaling */
				2);            /* UFP connected */
	return 2;
};

__override void svdm_dp_post_config(int port)
{
	dp_flags[port] |= DP_FLAGS_DP_ON;
}

/**
 * Is the port fine to be muxed its DisplayPort lines?
 *
 * Only one port can be muxed to DisplayPort at a time.
 *
 * @param port	Port number of TCPC.
 * @return	1 is fine; 0 is bad as other port is already muxed;
 */
static int is_dp_muxable(int port)
{
	int i;

	for (i = 0; i < CONFIG_USB_PD_PORT_MAX_COUNT; i++)
		if (i != port) {
			if (usb_mux_get(i) & USB_PD_MUX_DP_ENABLED)
				return 0;
		}

	return 1;
}

__override int svdm_dp_attention(int port, uint32_t *payload)
{
	const struct gpio_dt_spec *hpd =
		GPIO_DT_FROM_NODELABEL(gpio_dp_hot_plug_det);
	int lvl = PD_VDO_DPSTS_HPD_LVL(payload[1]);
	int irq = PD_VDO_DPSTS_HPD_IRQ(payload[1]);
	int cur_lvl = gpio_pin_get_dt(hpd);
	mux_state_t mux_state;

	dp_status[port] = payload[1];

	if (!is_dp_muxable(port)) {
		/* TODO(waihong): Info user? */
		CPRINTS("p%d: The other port is already muxed.", port);
		return 0;
	}

	/*
	 * Initial implementation to handle HPD. Only the first-plugged port
	 * works, i.e. sending HPD signal to AP. The second-plugged port
	 * will be ignored.
	 *
	 * TODO(waihong): Continue the above case, if the first-plugged port
	 * is then unplugged, switch to the second-plugged port and signal AP?
	 */
	if (lvl) {
		/*
		 * Enable and switch the DP port selection mux to the
		 * correct port.
		 *
		 * TODO(waihong): Better to move switching DP mux to
		 * the usb_mux abstraction.
		 */
		gpio_pin_set_dt(
			GPIO_DT_FROM_NODELABEL(gpio_dp_mux_sel), port == 1);
		gpio_pin_set_dt(GPIO_DT_FROM_NODELABEL(gpio_dp_mux_oe_l), 0);

		/* Connect the SBU lines in PPC chip. */
		if (IS_ENABLED(CONFIG_USBC_PPC_SBU))
			ppc_set_sbu(port, 1);

		/*
		 * Connect the USB SS/DP lines in TCPC chip.
		 *
		 * When mf_pref not true, still use the dock muxing
		 * because of the board USB-C topology (limited to 2
		 * lanes DP).
		 */
		usb_mux_set(port, USB_PD_MUX_DOCK,
			    USB_SWITCH_CONNECT,
			    polarity_rm_dts(pd_get_polarity(port)));
	} else {
		/* Disconnect the DP port selection mux. */
		gpio_pin_set_dt(GPIO_DT_FROM_NODELABEL(gpio_dp_mux_oe_l), 1);
		gpio_pin_set_dt(GPIO_DT_FROM_NODELABEL(gpio_dp_mux_sel), 0);

		/* Disconnect the SBU lines in PPC chip. */
		if (IS_ENABLED(CONFIG_USBC_PPC_SBU))
			ppc_set_sbu(port, 0);

		/* Disconnect the DP but keep the USB SS lines in TCPC chip. */
		usb_mux_set(port, USB_PD_MUX_USB_ENABLED,
			    USB_SWITCH_CONNECT,
			    polarity_rm_dts(pd_get_polarity(port)));
	}

	if (chipset_in_state(CHIPSET_STATE_ANY_SUSPEND) &&
	    (irq || lvl))
		/*
		 * Wake up the AP.  IRQ or level high indicates a DP sink is now
		 * present.
		 */
		pd_notify_dp_alt_mode_entry(port);

	/* Configure TCPC for the HPD event, for proper muxing */
	mux_state = (lvl ? USB_PD_MUX_HPD_LVL : USB_PD_MUX_HPD_LVL_DEASSERTED) |
		    (irq ? USB_PD_MUX_HPD_IRQ : USB_PD_MUX_HPD_IRQ_DEASSERTED);
	usb_mux_hpd_update(port, mux_state);

	/* Signal AP for the HPD event, through GPIO to AP */
	if (irq & cur_lvl) {
		uint64_t now = get_time().val;
		/* Wait for the minimum spacing between IRQ_HPD if needed */
		if (now < svdm_hpd_deadline[port])
			usleep(svdm_hpd_deadline[port] - now);

		/* Generate IRQ_HPD pulse */
		gpio_pin_set_dt(hpd, 0);
		usleep(HPD_DSTREAM_DEBOUNCE_IRQ);
		gpio_pin_set_dt(hpd, 1);

		/* Set the minimum time delay (2ms) for the next HPD IRQ */
		svdm_hpd_deadline[port] = get_time().val +
			HPD_USTREAM_DEBOUNCE_LVL;
	} else if (irq & !lvl) {
		CPRINTF("ERR:HPD:IRQ&LOW\n");
		return 0;
	}
	gpio_pin_set_dt(hpd, lvl);
	/* Set the minimum time delay (2ms) for the next HPD IRQ */
	svdm_hpd_deadline[port] = get_time().val + HPD_USTREAM_DEBOUNCE_LVL;

	return 1;
}

__override void svdm_exit_dp_mode(int port)
{
	if (is_dp_muxable(port)) {
		/* Disconnect the DP port selection mux. */
		gpio_pin_set_dt(GPIO_DT_FROM_NODELABEL(gpio_dp_mux_oe_l), 1);
		gpio_pin_set_dt(GPIO_DT_FROM_NODELABEL(gpio_dp_mux_sel), 0);

		/* Signal AP for the HPD low event */
		usb_mux_hpd_update(port, USB_PD_MUX_HPD_LVL_DEASSERTED |
					 USB_PD_MUX_HPD_IRQ_DEASSERTED);
		gpio_pin_set_dt(
			GPIO_DT_FROM_NODELABEL(gpio_dp_hot_plug_det), 0);
	}
}
#endif /* CONFIG_USB_PD_ALT_MODE_DFP */
```

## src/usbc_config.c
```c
/* Copyright 2022 The Chromium OS Authors. All rights reserved.
 * Use of this source code is governed by a BSD-style license that can be
 * found in the LICENSE file.
 */

/* Wormdingler board-specific USB-C configuration */

#include "battery_fuel_gauge.h"
#include "bc12/pi3usb9201_public.h"
#include "charger.h"
#include "charger/isl923x_public.h"
#include "charge_manager.h"
#include "charge_state.h"
#include "common.h"
#include "config.h"
#include "gpio_signal.h"
#include "gpio/gpio_int.h"
#include "hooks.h"
#include "ppc/sn5s330_public.h"
#include "system.h"
#include "tcpm/ps8xxx_public.h"
#include "tcpm/tcpci.h"
#include "timer.h"
#include "usb_pd.h"
#include "usb_mux.h"
#include "usbc_ocp.h"
#include "usbc_ppc.h"

#define CPRINTS(format, args...) cprints(CC_USBCHARGE, format, ## args)
#define CPRINTF(format, args...) cprintf(CC_USBCHARGE, format, ## args)

const struct charger_config_t chg_chips[] = {
	{
		.i2c_port = I2C_PORT_CHARGER,
		.i2c_addr_flags = ISL923X_ADDR_FLAGS,
		.drv = &isl923x_drv,
	},
};

__override uint16_t board_get_ps8xxx_product_id(int port)
{
	return PS8805_PRODUCT_ID;
}

int charger_profile_override(struct charge_state_data *curr)
{
	int usb_mv;
	int port;

	if (curr->state != ST_CHARGE)
		return 0;

	/* Lower the max requested voltage to 5V when battery is full. */
	if (chipset_in_state(CHIPSET_STATE_ANY_OFF) &&
	    !(curr->batt.flags & BATT_FLAG_BAD_STATUS) &&
	    !(curr->batt.flags & BATT_FLAG_WANT_CHARGE) &&
	    (curr->batt.status & STATUS_FULLY_CHARGED))
		usb_mv = 5000;
	else
		usb_mv = PD_MAX_VOLTAGE_MV;

	if (pd_get_max_voltage() != usb_mv) {
		CPRINTS("VBUS limited to %dmV", usb_mv);
		for (port = 0; port < CONFIG_USB_PD_PORT_MAX_COUNT; port++)
			pd_set_external_voltage_limit(port, usb_mv);
	}

	return 0;
}

enum ec_status charger_profile_override_get_param(uint32_t param,
						  uint32_t *value)
{
	return EC_RES_INVALID_PARAM;
}

enum ec_status charger_profile_override_set_param(uint32_t param,
						  uint32_t value)
{
	return EC_RES_INVALID_PARAM;
}

void usb0_evt(enum gpio_signal signal)
{
	task_set_event(TASK_ID_USB_CHG_P0, USB_CHG_EVENT_BC12);
}

void usb1_evt(enum gpio_signal signal)
{
	task_set_event(TASK_ID_USB_CHG_P1, USB_CHG_EVENT_BC12);
}

void ppc_interrupt(enum gpio_signal signal)
{
	switch (signal) {
	case GPIO_SIGNAL(DT_NODELABEL(gpio_usb_c0_swctl_int_odl)):
		sn5s330_interrupt(0);
		break;
	case GPIO_SIGNAL(DT_NODELABEL(gpio_usb_c1_swctl_int_odl)):
		sn5s330_interrupt(1);
		break;
	default:
		break;
	}
}

static void board_connect_c0_sbu_deferred(void)
{
	/*
	 * If CCD_MODE_ODL asserts, it means there's a debug accessory connected
	 * and we should enable the SBU FETs.
	 */
	ppc_set_sbu(0, 1);
}
DECLARE_DEFERRED(board_connect_c0_sbu_deferred);

void board_connect_c0_sbu(enum gpio_signal s)
{
	hook_call_deferred(&board_connect_c0_sbu_deferred_data, 0);
}

/* GPIO Interrupt Handlers */
void tcpc_alert_event(enum gpio_signal signal)
{
	int port = -1;

	switch (signal) {
	case GPIO_USB_C0_PD_INT_ODL:
		port = 0;
		break;
	case GPIO_USB_C1_PD_INT_ODL:
		port = 1;
		break;
	default:
		return;
	}

	schedule_deferred_pd_interrupt(port);
}

/* Power Path Controller */
struct ppc_config_t ppc_chips[] = {
	{
		.i2c_port = I2C_PORT_TCPC0,
		.i2c_addr_flags = SN5S330_ADDR0_FLAGS,
		.drv = &sn5s330_drv
	},
	{
		.i2c_port = I2C_PORT_TCPC1,
		.i2c_addr_flags = SN5S330_ADDR0_FLAGS,
		.drv = &sn5s330_drv
	},
};
unsigned int ppc_cnt = ARRAY_SIZE(ppc_chips);

/* TCPC mux configuration */
const struct tcpc_config_t tcpc_config[CONFIG_USB_PD_PORT_MAX_COUNT] = {
	{
		.bus_type = EC_BUS_TYPE_I2C,
		.i2c_info = {
			.port = I2C_PORT_TCPC0,
			.addr_flags = PS8XXX_I2C_ADDR1_FLAGS,
		},
		.drv = &ps8xxx_tcpm_drv,
	},
	{
		.bus_type = EC_BUS_TYPE_I2C,
		.i2c_info = {
			.port = I2C_PORT_TCPC1,
			.addr_flags = PS8XXX_I2C_ADDR1_FLAGS,
		},
		.drv = &ps8xxx_tcpm_drv,
	},
};

/*
 * Port-0/1 USB mux driver.
 *
 * The USB mux is handled by TCPC chip and the HPD update is through a GPIO
 * to AP. But the TCPC chip is also needed to know the HPD status; otherwise,
 * the mux misbehaves.
 */
const struct usb_mux usb_muxes[CONFIG_USB_PD_PORT_MAX_COUNT] = {
	{
		.usb_port = 0,
		.driver = &tcpci_tcpm_usb_mux_driver,
		.hpd_update = &ps8xxx_tcpc_update_hpd_status,
	},
	{
		.usb_port = 1,
		.driver = &tcpci_tcpm_usb_mux_driver,
		.hpd_update = &ps8xxx_tcpc_update_hpd_status,
	}
};

/* BC1.2 */
const struct pi3usb9201_config_t pi3usb9201_bc12_chips[] = {
	{
		.i2c_port = I2C_PORT_POWER,
		.i2c_addr_flags = PI3USB9201_I2C_ADDR_3_FLAGS,
	},
	{
		.i2c_port = I2C_PORT_EEPROM,
		.i2c_addr_flags = PI3USB9201_I2C_ADDR_3_FLAGS,
	},
};

/* Initialize board USC-C things */
static void board_init_usbc(void)
{
	/* Enable BC1.2 interrupts */
	gpio_enable_dt_interrupt(GPIO_INT_FROM_NODELABEL(int_usb_c0_bc12));
	gpio_enable_dt_interrupt(GPIO_INT_FROM_NODELABEL(int_usb_c1_bc12));

	/*
	 * The H1 SBU line for CCD are behind PPC chip. The PPC internal FETs
	 * for SBU may be disconnected after DP alt mode is off. Should enable
	 * the CCD_MODE_ODL interrupt to make sure the SBU FETs are connected.
	 */
	gpio_enable_dt_interrupt(GPIO_INT_FROM_NODELABEL(int_ccd_mode));
}
DECLARE_HOOK(HOOK_INIT, board_init_usbc, HOOK_PRIO_DEFAULT);

void board_tcpc_init(void)
{
	/* Only reset TCPC if not sysjump */
	if (!system_jumped_late()) {
		/* TODO(crosbug.com/p/61098): How long do we need to wait? */
		board_reset_pd_mcu();
	}

	/* Enable PPC interrupts */
	gpio_enable_dt_interrupt(GPIO_INT_FROM_NODELABEL(int_usb_c0_swctl));
	gpio_enable_dt_interrupt(GPIO_INT_FROM_NODELABEL(int_usb_c1_swctl));

	/* Enable TCPC interrupts */
	gpio_enable_dt_interrupt(GPIO_INT_FROM_NODELABEL(int_usb_c0_tcpc));
	gpio_enable_dt_interrupt(GPIO_INT_FROM_NODELABEL(int_usb_c1_tcpc));

	/*
	 * Initialize HPD to low; after sysjump SOC needs to see
	 * HPD pulse to enable video path
	 */
	for (int port = 0; port < CONFIG_USB_PD_PORT_MAX_COUNT; ++port)
		usb_mux_hpd_update(port, USB_PD_MUX_HPD_LVL_DEASSERTED |
					 USB_PD_MUX_HPD_IRQ_DEASSERTED);
}
DECLARE_HOOK(HOOK_INIT, board_tcpc_init, HOOK_PRIO_INIT_I2C + 1);

void board_reset_pd_mcu(void)
{
	cprints(CC_USB, "Resetting TCPCs...");
	cflush();

	gpio_pin_set_dt(GPIO_DT_FROM_NODELABEL(gpio_usb_c0_pd_rst_l), 0);
	gpio_pin_set_dt(GPIO_DT_FROM_NODELABEL(gpio_usb_c1_pd_rst_l), 0);
	msleep(PS8XXX_RESET_DELAY_MS);
	gpio_pin_set_dt(GPIO_DT_FROM_NODELABEL(gpio_usb_c0_pd_rst_l), 1);
	gpio_pin_set_dt(GPIO_DT_FROM_NODELABEL(gpio_usb_c1_pd_rst_l), 1);
}

void board_set_tcpc_power_mode(int port, int mode)
{
	/* Ignore the "mode" to turn the chip on.  We can only do a reset. */
	if (mode)
		return;

	board_reset_pd_mcu();
}

int board_vbus_sink_enable(int port, int enable)
{
	/* Both ports are controlled by PPC SN5S330 */
	return ppc_vbus_sink_enable(port, enable);
}

int board_is_sourcing_vbus(int port)
{
	/* Both ports are controlled by PPC SN5S330 */
	return ppc_is_sourcing_vbus(port);
}

void board_overcurrent_event(int port, int is_overcurrented)
{
	/* TODO(b/120231371): Notify AP */
	CPRINTS("p%d: overcurrent!", port);
}

int board_set_active_charge_port(int port)
{
	int is_real_port = (port >= 0 &&
			    port < CONFIG_USB_PD_PORT_MAX_COUNT);
	int i;

	if (!is_real_port && port != CHARGE_PORT_NONE)
		return EC_ERROR_INVAL;

	if (port == CHARGE_PORT_NONE) {
		CPRINTS("Disabling all charging port");

		/* Disable all ports. */
		for (i = 0; i < CONFIG_USB_PD_PORT_MAX_COUNT; i++) {
			/*
			 * Do not return early if one fails otherwise we can
			 * get into a boot loop assertion failure.
			 */
			if (board_vbus_sink_enable(i, 0))
				CPRINTS("Disabling p%d sink path failed.", i);
		}

		return EC_SUCCESS;
	}

	/* Check if the port is sourcing VBUS. */
	if (board_is_sourcing_vbus(port)) {
		CPRINTS("Skip enable p%d", port);
		return EC_ERROR_INVAL;
	}


	CPRINTS("New charge port: p%d", port);

	/*
	 * Turn off the other ports' sink path FETs, before enabling the
	 * requested charge port.
	 */
	for (i = 0; i < CONFIG_USB_PD_PORT_MAX_COUNT; i++) {
		if (i == port)
			continue;

		if (board_vbus_sink_enable(i, 0))
			CPRINTS("p%d: sink path disable failed.", i);
	}

	/* Enable requested charge port. */
	if (board_vbus_sink_enable(port, 1)) {
		CPRINTS("p%d: sink path enable failed.", port);
		return EC_ERROR_UNKNOWN;
	}

	return EC_SUCCESS;
}

void board_set_charge_limit(int port, int supplier, int charge_ma,
			    int max_ma, int charge_mv)
{
	/*
	 * Ignore lower charge ceiling on PD transition if our battery is
	 * critical, as we may brownout.
	 */
	if (supplier == CHARGE_SUPPLIER_PD &&
	    charge_ma < 1500 &&
	    charge_get_percent() < CONFIG_CHARGER_MIN_BAT_PCT_FOR_POWER_ON) {
		CPRINTS("Using max ilim %d", max_ma);
		charge_ma = max_ma;
	}

	charge_set_input_current_limit(MAX(charge_ma,
					   CONFIG_CHARGER_INPUT_CURRENT),
				       charge_mv);
}

uint16_t tcpc_get_alert_status(void)
{
	uint16_t status = 0;

	if (!gpio_pin_get_dt(GPIO_DT_FROM_NODELABEL(gpio_usb_c0_pd_int_odl)))
		if (gpio_pin_get_dt(
			GPIO_DT_FROM_NODELABEL(gpio_usb_c0_pd_rst_l)))
			status |= PD_STATUS_TCPC_ALERT_0;
	if (!gpio_pin_get_dt(GPIO_DT_FROM_NODELABEL(gpio_usb_c1_pd_int_odl)))
		if (gpio_pin_get_dt(
			GPIO_DT_FROM_NODELABEL(gpio_usb_c1_pd_rst_l)))
			status |= PD_STATUS_TCPC_ALERT_1;

	return status;
}
```
